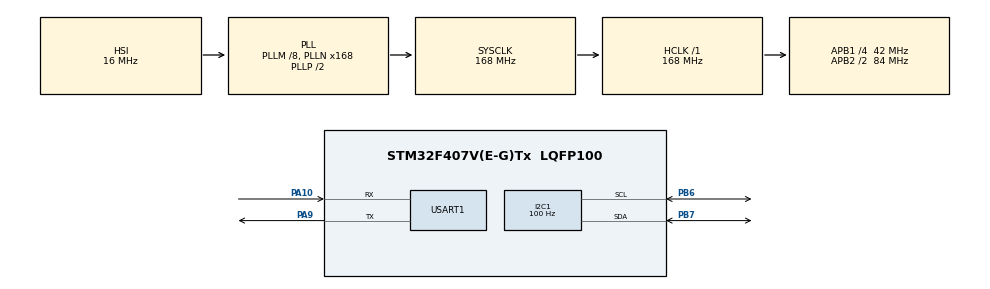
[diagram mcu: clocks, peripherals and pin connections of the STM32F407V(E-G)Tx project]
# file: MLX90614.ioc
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I2C1.ClockSpeed=100
Mcu.Family=STM32F4
Mcu.Name=STM32F407V(E-G)Tx
Mcu.Package=LQFP100
NVIC.PriorityGroup=NVIC_PRIORITYGROUP_4
PA10.Mode=Asynchronous
PA10.Signal=USART1_RX
PA9.Mode=Asynchronous
PA9.Signal=USART1_TX
PB6.Mode=I2C
PB6.Signal=I2C1_SCL
PB7.Mode=I2C
PB7.Signal=I2C1_SDA
PH0-OSC_IN.Mode=HSE-External-Oscillator
PH0-OSC_IN.Signal=RCC_OSC_IN
PH1-OSC_OUT.Mode=HSE-External-Oscillator
PH1-OSC_OUT.Signal=RCC_OSC_OUT
ProjectManager.HeapSize=0x200
ProjectManager.StackSize=0x400
ProjectManager.TargetToolchain=MDK-ARM V5.27
RCC.48MHZClocksFreq_Value=84000000
RCC.AHBFreq_Value=168000000
RCC.APB1CLKDivider=RCC_HCLK_DIV4
RCC.APB1Freq_Value=42000000
RCC.APB1TimFreq_Value=84000000
RCC.APB2CLKDivider=RCC_HCLK_DIV2
RCC.APB2Freq_Value=84000000
RCC.APB2TimFreq_Value=168000000
RCC.CortexFreq_Value=168000000
RCC.HCLKFreq_Value=168000000
RCC.HSE_VALUE=25000000
RCC.HSI_VALUE=16000000
RCC.LSE_VALUE=32768
RCC.PLLM=8
RCC.PLLN=168
RCC.SYSCLKFreq_VALUE=168000000
RCC.SYSCLKSource=RCC_SYSCLKSOURCE_PLLCLK
RCC.VCOOutputFreq_Value=336000000
USART1.VirtualMode=VM_ASYNC
board=custom

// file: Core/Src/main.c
/* USER CODE BEGIN Header */
/**
  ******************************************************************************
  * @file           : main.c
  * @brief          : Main program body
  ******************************************************************************
  * @attention
  *
  * <h2><center>&copy; Copyright (c) 2021 STMicroelectronics.
  * All rights reserved.</center></h2>
  *
  * This software component is licensed by ST under BSD 3-Clause license,
  * the "License"; You may not use this file except in compliance with the
  * License. You may obtain a copy of the License at:
  *                        opensource.org/licenses/BSD-3-Clause
  *
  ******************************************************************************
  */
/* USER CODE END Header */
#include "main.h"
#include "i2c.h"
#include "usart.h"
#include "gpio.h"

/* USER CODE BEGIN Includes */
#include "mlx90614.h"
#include "stdio.h"
#include "string.h"
/* USER CODE END Includes */

/* USER CODE BEGIN PV */
char buf[30];
uint8_t len;

float ObjectTemperature;
float AmbientTemperature;
float Emissivity;
/* USER CODE END PV */

void SystemClock_Config(void);

int main(void)
{

  /* MCU Configuration--------------------------------------------------------*/

  /* Reset of all peripherals, Initializes the Flash interface and the Systick. */
  HAL_Init();

  /* Configure the system clock */
  SystemClock_Config();

  /* Initialize all configured peripherals */
  MX_GPIO_Init();
  MX_I2C1_Init();
  MX_USART1_UART_Init();
  /* USER CODE BEGIN 2 */
  MLX90614_Init(&hi2c1);
  MLX90614_SetEmissivity(0.985); // Human skin
  /* USER CODE END 2 */

  /* Infinite loop */
  /* USER CODE BEGIN WHILE */
  while (1)
  {
    MLX90614_ReadAmbientTemperature(&AmbientTemperature);
    MLX90614_ReadObjectTemperature(&ObjectTemperature);
    MLX90614_GetEmissivity(&Emissivity);

    memset(buf, 0x00, 30); //清空数组
	  len = sprintf(buf, "Emissivity: %.3f\n\r", Emissivity);   //辐射率
	  HAL_UART_Transmit(&huart1, (uint8_t*)buf, len, 20);

	  memset(buf, 0x00, 30);
	  len = sprintf(buf, "Ambient: %.2f\n\r", AmbientTemperature);    //室温
	  HAL_UART_Transmit(&huart1, (uint8_t*)buf, len, 20);

	  memset(buf, 0x00, 30);
	  len = sprintf(buf, "Object: %.2f\n\n\r", ObjectTemperature);    //目标温度
	  HAL_UART_Transmit(&huart1, (uint8_t*)buf, len, 20);

	  HAL_Delay(500);
    /* USER CODE END WHILE */

  }
}

void SystemClock_Config(void)
{
  RCC_OscInitTypeDef RCC_OscInitStruct = {0};
  RCC_ClkInitTypeDef RCC_ClkInitStruct = {0};

  /** Configure the main internal regulator output voltage
  */
  __HAL_RCC_PWR_CLK_ENABLE();
  __HAL_PWR_VOLTAGESCALING_CONFIG(PWR_REGULATOR_VOLTAGE_SCALE1);
  /** Initializes the RCC Oscillators according to the specified parameters
  * in the RCC_OscInitTypeDef structure.
  */
  RCC_OscInitStruct.OscillatorType = RCC_OSCILLATORTYPE_HSI;
  RCC_OscInitStruct.HSIState = RCC_HSI_ON;
  RCC_OscInitStruct.HSICalibrationValue = RCC_HSICALIBRATION_DEFAULT;
  RCC_OscInitStruct.PLL.PLLState = RCC_PLL_ON;
  RCC_OscInitStruct.PLL.PLLSource = RCC_PLLSOURCE_HSI;
  RCC_OscInitStruct.PLL.PLLM = 8;
  RCC_OscInitStruct.PLL.PLLN = 168;
  RCC_OscInitStruct.PLL.PLLP = RCC_PLLP_DIV2;
  RCC_OscInitStruct.PLL.PLLQ = 4;
  if (HAL_RCC_OscConfig(&RCC_OscInitStruct) != HAL_OK)
  {
    Error_Handler();
  }
  /** Initializes the CPU, AHB and APB buses clocks
  */
  RCC_ClkInitStruct.ClockType = RCC_CLOCKTYPE_HCLK|RCC_CLOCKTYPE_SYSCLK
                              |RCC_CLOCKTYPE_PCLK1|RCC_CLOCKTYPE_PCLK2;
  RCC_ClkInitStruct.SYSCLKSource = RCC_SYSCLKSOURCE_PLLCLK;
  RCC_ClkInitStruct.AHBCLKDivider = RCC_SYSCLK_DIV1;
  RCC_ClkInitStruct.APB1CLKDivider = RCC_HCLK_DIV4;
  RCC_ClkInitStruct.APB2CLKDivider = RCC_HCLK_DIV2;

  if (HAL_RCC_ClockConfig(&RCC_ClkInitStruct, FLASH_LATENCY_5) != HAL_OK)
  {
    Error_Handler();
  }
}

void Error_Handler(void)
{
}

/************************ (C) COPYRIGHT STMicroelectronics *****END OF FILE****/
